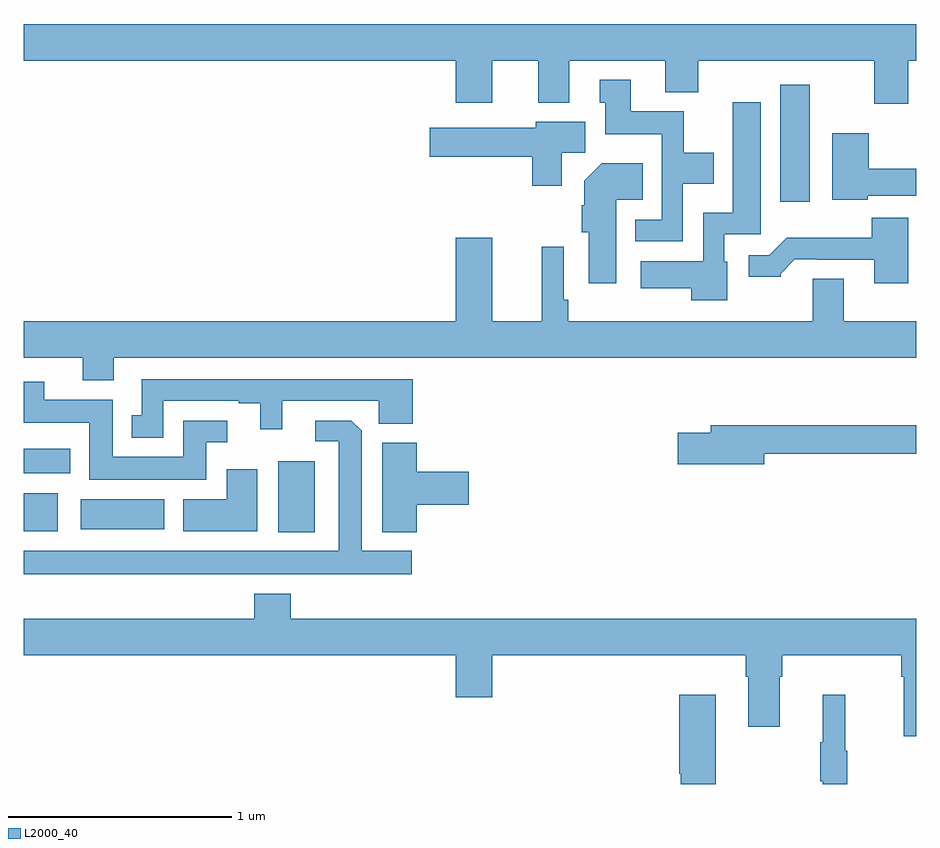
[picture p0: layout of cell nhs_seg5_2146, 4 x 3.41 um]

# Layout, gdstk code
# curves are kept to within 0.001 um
import gdstk
lib = gdstk.Library(unit=1e-6, precision=1e-09)
def R(c, l, rs):  # rectangles x0, y0, x1, y1
    for r in rs: c.add(gdstk.rectangle(r[:2], r[2:], *l))
def P(c, l, *ps):  # polygons
    for p in ps: c.add(gdstk.Polygon(p, *l))
L2000_40 = (2000, 40)

nhs_seg5_2146 = lib.new_cell('nhs_seg5_2146')
R(nhs_seg5_2146, L2000_40, [(236.141,907.928,236.305,908.245), (235,907.931,235.153,908.101), (235.257,907.94,235.63,908.074), (235,908.192,235.21,908.302), (238.391,909.408,238.522,909.931)])
P(nhs_seg5_2146, L2000_40, [(238.964,910.04),(239,910.04),(239,910.204),(235,910.204),(235,910.04),(236.936,910.04),(236.936,909.852),(237.1,909.852),(237.1,910.04),(237.305,910.04),(237.305,909.851),(237.445,909.851),(237.445,910.04),(237.875,910.04),(237.875,909.899),(238.023,909.899),(238.023,910.04),(238.811,910.04),(238.811,909.846),(238.964,909.846)],
  [(237.954,909.488),(238.093,909.488),(238.093,909.628),(237.957,909.628),(237.957,909.814),(237.721,909.814),(237.721,909.955),(237.581,909.955),(237.581,909.852),(237.605,909.852),(237.605,909.71),(237.858,909.71),(237.858,909.327),(237.741,909.327),(237.741,909.231),(237.954,909.231)],
  [(238.153,909.138),(238.14,909.138),(238.14,909.261),(238.303,909.261),(238.303,909.853),(238.178,909.853),(238.178,909.358),(238.044,909.358),(238.044,909.142),(237.765,909.142),(237.765,909.02),(237.992,909.02),(237.992,908.966),(238.153,908.966)],
  [(237.412,909.628),(237.517,909.628),(237.517,909.766),(237.294,909.766),(237.294,909.739),(236.82,909.739),(236.82,909.61),(237.278,909.61),(237.278,909.48),(237.412,909.48)],
  [(238.782,909.434),(239,909.434),(239,909.556),(238.786,909.556),(238.786,909.715),(238.622,909.715),(238.622,909.416),(238.782,909.416)],
  [(237.655,909.416),(237.773,909.416),(237.773,909.58),(237.59,909.58),(237.512,909.502),(237.512,909.392),(237.5,909.392),(237.5,909.27),(237.533,909.27),(237.533,909.042),(237.655,909.042)],
  [(238.964,909.337),(238.799,909.337),(238.799,909.247),(238.42,909.247),(238.341,909.168),(238.248,909.168),(238.248,909.071),(238.392,909.071),(238.392,909.086),(238.456,909.15),(238.555,909.15),(238.555,909.147),(238.811,909.147),(238.811,909.042),(238.964,909.042)],
  [(235.405,908.708),(239,908.708),(239,908.872),(238.675,908.872),(238.675,909.062),(238.535,909.062),(238.535,908.872),(237.44,908.872),(237.44,908.968),(237.42,908.968),(237.42,909.205),(237.322,909.205),(237.322,908.872),(237.1,908.872),(237.1,909.247),(236.936,909.247),(236.936,908.872),(235,908.872),(235,908.708),(235.265,908.708),(235.265,908.609),(235.405,908.609)],
  [(235.626,908.517),(235.964,908.517),(235.964,908.505),(236.06,908.505),(236.06,908.388),(236.158,908.388),(236.158,908.517),(236.592,908.517),(236.592,908.414),(236.744,908.414),(236.744,908.613),(235.53,908.613),(235.53,908.451),(235.484,908.451),(235.484,908.351),(235.626,908.351)],
  [(235.819,908.331),(235.912,908.331),(235.912,908.427),(235.715,908.427),(235.715,908.266),(235.399,908.266),(235.399,908.521),(235.093,908.521),(235.093,908.602),(235,908.602),(235,908.417),(235.295,908.417),(235.295,908.162),(235.819,908.162)],
  [(236.74,907.843),(236.515,907.843),(236.514,908.381),(236.468,908.427),(236.307,908.427),(236.307,908.334),(236.411,908.334),(236.411,907.843),(235,907.843),(235,907.739),(236.74,907.739)],
  [(238.318,908.278),(239,908.278),(239,908.407),(238.079,908.407),(238.079,908.373),(237.93,908.373),(237.93,908.231),(238.318,908.231)],
  [(236.762,908.051),(236.995,908.051),(236.995,908.198),(236.762,908.198),(236.762,908.329),(236.606,908.329),(236.606,907.928),(236.762,907.928)],
  [(236.047,908.209),(235.91,908.209),(235.91,908.074),(235.715,908.074),(235.715,907.931),(236.047,907.931)],
  [(239,907.54),(236.198,907.54),(236.198,907.651),(236.033,907.651),(236.033,907.54),(235,907.54),(235,907.376),(236.936,907.376),(236.936,907.188),(237.1,907.188),(237.1,907.376),(238.235,907.376),(238.235,907.28),(238.247,907.28),(238.247,907.056),(238.387,907.056),(238.387,907.28),(238.4,907.28),(238.4,907.376),(238.931,907.376),(238.931,907.28),(238.943,907.28),(238.943,907.014),(239,907.014)],
  [(238.102,907.198),(237.938,907.198),(237.938,906.846),(237.944,906.846),(237.944,906.799),(238.102,906.799)],
  [(238.69,906.948),(238.682,906.948),(238.682,907.198),(238.58,907.198),(238.58,906.985),(238.569,906.985),(238.569,906.811),(238.58,906.811),(238.58,906.799),(238.69,906.799)])

lib.write_gds('nhs_seg5_2146.gds')
